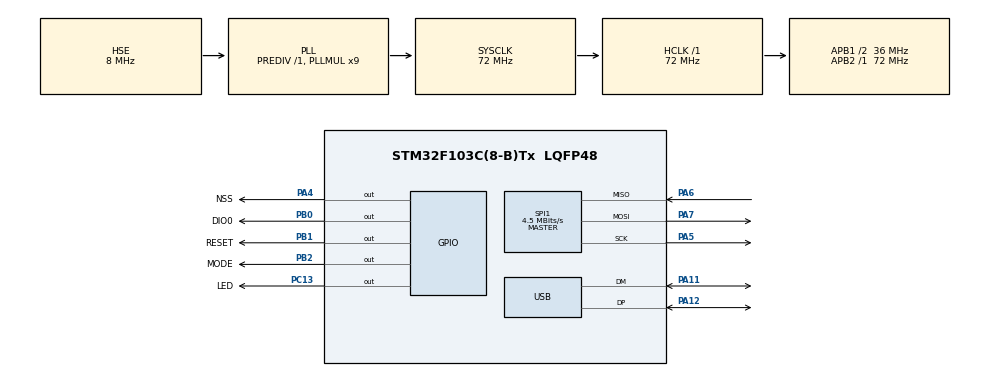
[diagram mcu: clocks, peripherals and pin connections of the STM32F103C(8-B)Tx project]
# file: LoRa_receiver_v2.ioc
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Mcu.Family=STM32F1
Mcu.Name=STM32F103C(8-B)Tx
Mcu.Package=LQFP48
NVIC.PriorityGroup=NVIC_PRIORITYGROUP_4
NVIC.USB_LP_CAN1_RX0_IRQn=true\:0\:0\:false\:false\:true\:false\:true\:true
PA11.Mode=Device
PA11.Signal=USB_DM
PA12.Mode=Device
PA12.Signal=USB_DP
PA13.Mode=Trace_Asynchronous_SW
PA13.Signal=SYS_JTMS-SWDIO
PA14.Mode=Trace_Asynchronous_SW
PA14.Signal=SYS_JTCK-SWCLK
PA4.GPIO_Label=NSS
PA4.Signal=GPIO_Output
PA5.Mode=Full_Duplex_Master
PA5.Signal=SPI1_SCK
PA6.Mode=Full_Duplex_Master
PA6.Signal=SPI1_MISO
PA7.Mode=Full_Duplex_Master
PA7.Signal=SPI1_MOSI
PB0.GPIO_Label=DIO0
PB0.Signal=GPIO_Output
PB1.GPIO_Label=RESET
PB1.Signal=GPIO_Output
PB2.GPIO_Label=MODE
PB2.Signal=GPIO_Output
PB3.Mode=Trace_Asynchronous_SW
PB3.Signal=SYS_JTDO-TRACESWO
PC13-TAMPER-RTC.GPIO_Label=LED
PC13-TAMPER-RTC.Signal=GPIO_Output
PD0-OSC_IN.Mode=HSE-External-Oscillator
PD0-OSC_IN.Signal=RCC_OSC_IN
PD1-OSC_OUT.Mode=HSE-External-Oscillator
PD1-OSC_OUT.Signal=RCC_OSC_OUT
ProjectManager.HeapSize=0x200
ProjectManager.StackSize=0x400
ProjectManager.TargetToolchain=STM32CubeIDE
RCC.AHBFreq_Value=72000000
RCC.APB1CLKDivider=RCC_HCLK_DIV2
RCC.APB1Freq_Value=36000000
RCC.APB1TimFreq_Value=72000000
RCC.APB2Freq_Value=72000000
RCC.APB2TimFreq_Value=72000000
RCC.HCLKFreq_Value=72000000
RCC.PLLMUL=RCC_PLL_MUL9
RCC.SYSCLKFreq_VALUE=72000000
RCC.SYSCLKSource=RCC_SYSCLKSOURCE_PLLCLK
RCC.USBFreq_Value=48000000
RCC.USBPrescaler=RCC_USBCLKSOURCE_PLL_DIV1_5
SPI1.BaudRatePrescaler=SPI_BAUDRATEPRESCALER_16
SPI1.CalculateBaudRate=4.5 MBits/s
SPI1.Direction=SPI_DIRECTION_2LINES
SPI1.Mode=SPI_MODE_MASTER
SPI1.VirtualType=VM_MASTER
USB_DEVICE.CLASS_NAME_FS=CDC
USB_DEVICE.VirtualMode=Cdc
USB_DEVICE.VirtualModeFS=Cdc_FS
VP_USB_DEVICE_VS_USB_DEVICE_CDC_FS.Mode=CDC_FS
board=custom

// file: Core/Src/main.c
/* USER CODE BEGIN Header */
/**
 ******************************************************************************
 * @file           : main.c
 * @brief          : Main program body
 ******************************************************************************
 * @attention
 *
 * Copyright (c) 2025 STMicroelectronics.
 * All rights reserved.
 *
 * This software is licensed under terms that can be found in the LICENSE file
 * in the root directory of this software component.
 * If no LICENSE file comes with this software, it is provided AS-IS.
 *
 ******************************************************************************
 */
/* USER CODE END Header */
#include "main.h"
#include "spi.h"
#include "usb_device.h"
#include "gpio.h"

/* USER CODE BEGIN Includes */

#include <stdio.h>
#include "SX1278.h"

//#include "SX1278"

/* USER CODE END Includes */

void SystemClock_Config(void);
/* USER CODE BEGIN PFP */

/* Private function prototypes -----------------------------------------------*/

//int _write(int file, char *ptr, int len) {
//	int i;
//	HAL_UART_Transmit(&huart2, (uint8_t*) ptr, len, 50);
//	for (i = 0; i < len; i++) {
//		ITM_SendChar(*ptr++);
//	}
//	return len;
//}

int _write(int file, char *ptr, int len)
{
    CDC_Transmit_FS((uint8_t*) ptr, len);
    return len;
}

void okByMorse(){

	static char sentence [100] = "___---_---_---___---_---";	// pamieta stan pisania wyrazu "ok"
	static int i = 0;
	static uint32_t timer = 0; // zmienna zostanie uzyta do migania dioda
	static int firstRun = 1;

	if(firstRun){
		timer = HAL_GetTick();
		firstRun = 0;
	}

	if(HAL_GetTick() - timer > 1000){
		if(sentence[i] == '-'){
			HAL_GPIO_WritePin(LED_GPIO_Port, LED_Pin, GPIO_PIN_RESET);
		}else if(sentence[i] == '_'){
			HAL_GPIO_WritePin(LED_GPIO_Port, LED_Pin, GPIO_PIN_SET);
		}

		timer = HAL_GetTick();
		i++;
		if(sentence[i]=='\0'){
			i=0;
		}
	}

}

/* USER CODE END PFP */

/* USER CODE BEGIN 0 */

SX1278_hw_t SX1278_hw;
SX1278_t SX1278;

int ret;

char buffer[512];

int message;
int message_length;

/* USER CODE END 0 */

int main(void)
{

  /* MCU Configuration--------------------------------------------------------*/

  /* Reset of all peripherals, Initializes the Flash interface and the Systick. */
  HAL_Init();

  /* Configure the system clock */
  SystemClock_Config();

  /* Initialize all configured peripherals */
  MX_GPIO_Init();
  MX_SPI1_Init();
  MX_USB_DEVICE_Init();
  /* USER CODE BEGIN 2 */

	HAL_GPIO_WritePin(MODE_GPIO_Port, MODE_Pin, GPIO_PIN_SET);

	//initialize LoRa module
	SX1278_hw.dio0.port = DIO0_GPIO_Port;
	SX1278_hw.dio0.pin = DIO0_Pin;
	SX1278_hw.nss.port = NSS_GPIO_Port;
	SX1278_hw.nss.pin = NSS_Pin;
	SX1278_hw.reset.port = RESET_GPIO_Port;
	SX1278_hw.reset.pin = RESET_Pin;
	SX1278_hw.spi = &hspi1;

	SX1278.hw = &SX1278_hw;

	SX1278_init(&SX1278, 434000000, SX1278_POWER_17DBM, SX1278_LORA_SF_7,
	SX1278_LORA_BW_125KHZ, SX1278_LORA_CR_4_5, SX1278_LORA_CRC_EN, 10);

	ret = SX1278_LoRaEntryRx(&SX1278, 16, 2000);
	HAL_GPIO_WritePin(LED_GPIO_Port, LED_Pin, GPIO_PIN_RESET);

  /* USER CODE END 2 */

  /* Infinite loop */
  /* USER CODE BEGIN WHILE */
	while (1) {
			HAL_Delay(800);

			ret = SX1278_LoRaRxPacket(&SX1278);
			if (ret > 0) {
				SX1278_read(&SX1278, (uint8_t*) buffer, ret);
				printf("%s\r\n", buffer);
			}
		}

    /* USER CODE END WHILE */

}

void SystemClock_Config(void)
{
  RCC_OscInitTypeDef RCC_OscInitStruct = {0};
  RCC_ClkInitTypeDef RCC_ClkInitStruct = {0};
  RCC_PeriphCLKInitTypeDef PeriphClkInit = {0};

  /** Initializes the RCC Oscillators according to the specified parameters
  * in the RCC_OscInitTypeDef structure.
  */
  RCC_OscInitStruct.OscillatorType = RCC_OSCILLATORTYPE_HSE;
  RCC_OscInitStruct.HSEState = RCC_HSE_ON;
  RCC_OscInitStruct.HSEPredivValue = RCC_HSE_PREDIV_DIV1;
  RCC_OscInitStruct.HSIState = RCC_HSI_ON;
  RCC_OscInitStruct.PLL.PLLState = RCC_PLL_ON;
  RCC_OscInitStruct.PLL.PLLSource = RCC_PLLSOURCE_HSE;
  RCC_OscInitStruct.PLL.PLLMUL = RCC_PLL_MUL9;
  if (HAL_RCC_OscConfig(&RCC_OscInitStruct) != HAL_OK)
  {
    Error_Handler();
  }

  /** Initializes the CPU, AHB and APB buses clocks
  */
  RCC_ClkInitStruct.ClockType = RCC_CLOCKTYPE_HCLK|RCC_CLOCKTYPE_SYSCLK
                              |RCC_CLOCKTYPE_PCLK1|RCC_CLOCKTYPE_PCLK2;
  RCC_ClkInitStruct.SYSCLKSource = RCC_SYSCLKSOURCE_PLLCLK;
  RCC_ClkInitStruct.AHBCLKDivider = RCC_SYSCLK_DIV1;
  RCC_ClkInitStruct.APB1CLKDivider = RCC_HCLK_DIV2;
  RCC_ClkInitStruct.APB2CLKDivider = RCC_HCLK_DIV1;

  if (HAL_RCC_ClockConfig(&RCC_ClkInitStruct, FLASH_LATENCY_2) != HAL_OK)
  {
    Error_Handler();
  }
  PeriphClkInit.PeriphClockSelection = RCC_PERIPHCLK_USB;
  PeriphClkInit.UsbClockSelection = RCC_USBCLKSOURCE_PLL_DIV1_5;
  if (HAL_RCCEx_PeriphCLKConfig(&PeriphClkInit) != HAL_OK)
  {
    Error_Handler();
  }
}

void Error_Handler(void)
{
	__disable_irq();
	while (1) {
	}
}
